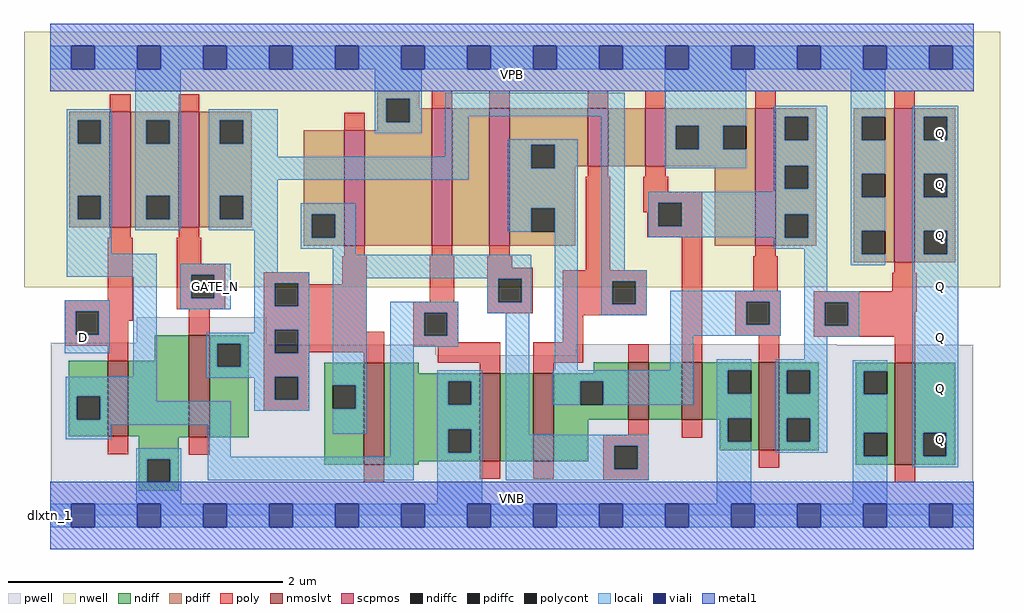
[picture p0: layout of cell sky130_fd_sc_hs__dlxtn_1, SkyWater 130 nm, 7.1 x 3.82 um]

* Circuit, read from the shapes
.subckt sky130_fd_sc_hs__dlxtn_1 D GATE_N VGND VNB VPB VPWR Q
XM1 VGND D n1 VNB sky130_fd_pr__nfet_01v8_lvt w=0.55 l=0.15
XM2 n2 GATE_N VGND VNB sky130_fd_pr__nfet_01v8_lvt w=0.74 l=0.15
XM3 VGND n2 n3 VNB sky130_fd_pr__nfet_01v8_lvt w=0.74 l=0.15
XM4 n4 n1 VGND VNB sky130_fd_pr__nfet_01v8_lvt w=0.64 l=0.15
XM5 n5 n2 n4 VNB sky130_fd_pr__nfet_01v8_lvt w=0.64 l=0.15
XM6 n6 n3 n5 VNB sky130_fd_pr__nfet_01v8_lvt w=0.42 l=0.15
XM7 VGND n7 n6 VNB sky130_fd_pr__nfet_01v8_lvt w=0.42 l=0.15
XM8 n7 n5 VGND VNB sky130_fd_pr__nfet_01v8_lvt w=0.64 l=0.15
XM9 Q n7 VGND VNB sky130_fd_pr__nfet_01v8_lvt w=0.74 l=0.15
XM10 VPWR D n1 VPB sky130_fd_pr__pfet_01v8 w=0.84 l=0.15
XM11 n2 GATE_N VPWR VPB sky130_fd_pr__pfet_01v8 w=0.84 l=0.15
XM12 VPWR n2 n3 VPB sky130_fd_pr__pfet_01v8 w=0.84 l=0.15
XM13 n8 n1 VPWR VPB sky130_fd_pr__pfet_01v8 w=1 l=0.15
XM14 n5 n3 n8 VPB sky130_fd_pr__pfet_01v8 w=1 l=0.15
XM15 n9 n2 n5 VPB sky130_fd_pr__pfet_01v8 w=0.42 l=0.15
XM16 VPWR n7 n9 VPB sky130_fd_pr__pfet_01v8 w=0.42 l=0.15
XM17 n7 n5 VPWR VPB sky130_fd_pr__pfet_01v8 w=1 l=0.15
XM18 Q n7 VPWR VPB sky130_fd_pr__pfet_01v8 w=1.12 l=0.15
.ends

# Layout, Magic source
magic
tech sky130A
magscale 1 2
<< nwell >>
rect -38 332 1382 704
<< pwell >>
rect 126 251 315 288
rect 1 248 315 251
rect 765 248 1144 249
rect 1 233 562 248
rect 765 233 1343 248
rect 1 49 1343 233
rect 0 0 1344 49
<< scpmos >>
rect 87 419 117 587
rect 187 419 217 587
rect 428 392 458 560
rect 555 392 585 592
rect 639 392 669 592
rect 782 508 812 592
rect 866 508 896 592
rect 1026 392 1056 592
rect 1228 368 1258 592
<< nmoslvt >>
rect 84 115 114 225
rect 202 114 232 262
rect 456 74 486 222
rect 625 79 655 207
rect 703 79 733 207
rect 841 139 871 223
rect 919 139 949 223
rect 1031 95 1061 223
rect 1229 74 1259 222
<< ndiff >>
rect 152 225 202 262
rect 27 173 84 225
rect 27 139 39 173
rect 73 139 84 173
rect 27 115 84 139
rect 114 115 202 225
rect 129 114 202 115
rect 232 250 289 262
rect 232 216 243 250
rect 277 216 289 250
rect 232 114 289 216
rect 399 189 456 222
rect 399 155 411 189
rect 445 155 456 189
rect 129 82 187 114
rect 129 48 141 82
rect 175 48 187 82
rect 399 74 456 155
rect 486 207 536 222
rect 791 207 841 223
rect 486 195 625 207
rect 486 161 579 195
rect 613 161 625 195
rect 486 125 625 161
rect 486 91 579 125
rect 613 91 625 125
rect 486 79 625 91
rect 655 79 703 207
rect 733 195 841 207
rect 733 161 771 195
rect 805 161 841 195
rect 733 139 841 161
rect 871 139 919 223
rect 949 211 1031 223
rect 949 177 986 211
rect 1020 177 1031 211
rect 949 141 1031 177
rect 949 139 986 141
rect 733 79 783 139
rect 486 74 536 79
rect 974 107 986 139
rect 1020 107 1031 141
rect 974 95 1031 107
rect 1061 211 1118 223
rect 1061 177 1072 211
rect 1106 177 1118 211
rect 1061 141 1118 177
rect 1061 107 1072 141
rect 1106 107 1118 141
rect 1061 95 1118 107
rect 1172 210 1229 222
rect 1172 176 1184 210
rect 1218 176 1229 210
rect 1172 120 1229 176
rect 1172 86 1184 120
rect 1218 86 1229 120
rect 1172 74 1229 86
rect 1259 120 1317 222
rect 1259 86 1270 120
rect 1304 86 1317 120
rect 1259 74 1317 86
rect 129 36 187 48
<< pdiff >>
rect 476 606 537 618
rect 28 575 87 587
rect 28 541 40 575
rect 74 541 87 575
rect 28 465 87 541
rect 28 431 40 465
rect 74 431 87 465
rect 28 419 87 431
rect 117 575 187 587
rect 117 541 140 575
rect 174 541 187 575
rect 117 465 187 541
rect 117 431 140 465
rect 174 431 187 465
rect 117 419 187 431
rect 217 575 293 587
rect 217 541 247 575
rect 281 541 293 575
rect 476 572 489 606
rect 523 592 537 606
rect 523 572 555 592
rect 476 560 555 572
rect 217 465 293 541
rect 217 431 247 465
rect 281 431 293 465
rect 217 419 293 431
rect 369 438 428 560
rect 369 404 381 438
rect 415 404 428 438
rect 369 392 428 404
rect 458 392 555 560
rect 585 392 639 592
rect 669 539 782 592
rect 669 505 700 539
rect 734 508 782 539
rect 812 508 866 592
rect 896 567 1026 592
rect 896 533 910 567
rect 944 533 979 567
rect 1013 533 1026 567
rect 896 508 1026 533
rect 734 505 764 508
rect 669 447 764 505
rect 669 413 700 447
rect 734 413 764 447
rect 669 392 764 413
rect 967 392 1026 508
rect 1056 580 1115 592
rect 1056 546 1069 580
rect 1103 546 1115 580
rect 1056 509 1115 546
rect 1056 475 1069 509
rect 1103 475 1115 509
rect 1056 438 1115 475
rect 1056 404 1069 438
rect 1103 404 1115 438
rect 1056 392 1115 404
rect 1169 580 1228 592
rect 1169 546 1181 580
rect 1215 546 1228 580
rect 1169 497 1228 546
rect 1169 463 1181 497
rect 1215 463 1228 497
rect 1169 414 1228 463
rect 1169 380 1181 414
rect 1215 380 1228 414
rect 1169 368 1228 380
rect 1258 580 1317 592
rect 1258 546 1271 580
rect 1305 546 1317 580
rect 1258 497 1317 546
rect 1258 463 1271 497
rect 1305 463 1317 497
rect 1258 414 1317 463
rect 1258 380 1271 414
rect 1305 380 1317 414
rect 1258 368 1317 380
<< ndiffc >>
rect 39 139 73 173
rect 243 216 277 250
rect 411 155 445 189
rect 141 48 175 82
rect 579 161 613 195
rect 579 91 613 125
rect 771 161 805 195
rect 986 177 1020 211
rect 986 107 1020 141
rect 1072 177 1106 211
rect 1072 107 1106 141
rect 1184 176 1218 210
rect 1184 86 1218 120
rect 1270 86 1304 120
<< pdiffc >>
rect 40 541 74 575
rect 40 431 74 465
rect 140 541 174 575
rect 140 431 174 465
rect 247 541 281 575
rect 489 572 523 606
rect 247 431 281 465
rect 381 404 415 438
rect 700 505 734 539
rect 910 533 944 567
rect 979 533 1013 567
rect 700 413 734 447
rect 1069 546 1103 580
rect 1069 475 1103 509
rect 1069 404 1103 438
rect 1181 546 1215 580
rect 1181 463 1215 497
rect 1181 380 1215 414
rect 1271 546 1305 580
rect 1271 463 1305 497
rect 1271 380 1305 414
<< poly >>
rect 87 587 117 613
rect 187 587 217 613
rect 428 560 458 586
rect 555 592 585 618
rect 639 592 669 618
rect 782 592 812 618
rect 866 592 896 618
rect 1026 592 1056 618
rect 1228 592 1258 618
rect 87 404 117 419
rect 187 404 217 419
rect 84 313 120 404
rect 21 297 120 313
rect 184 366 220 404
rect 782 493 812 508
rect 866 493 896 508
rect 428 377 458 392
rect 555 377 585 392
rect 639 377 669 392
rect 184 350 255 366
rect 184 316 205 350
rect 239 316 255 350
rect 184 300 255 316
rect 311 338 377 354
rect 311 304 327 338
rect 361 336 377 338
rect 425 336 461 377
rect 361 304 461 336
rect 552 311 588 377
rect 636 360 672 377
rect 636 344 702 360
rect 779 357 815 493
rect 863 471 899 493
rect 863 455 949 471
rect 863 441 885 455
rect 869 421 885 441
rect 919 421 949 455
rect 869 405 949 421
rect 21 263 37 297
rect 71 283 120 297
rect 71 263 114 283
rect 21 247 114 263
rect 202 262 232 300
rect 311 270 461 304
rect 84 225 114 247
rect 84 89 114 115
rect 311 236 327 270
rect 361 267 461 270
rect 528 295 594 311
rect 361 237 486 267
rect 528 261 544 295
rect 578 261 594 295
rect 636 310 652 344
rect 686 310 702 344
rect 636 294 702 310
rect 746 341 868 357
rect 746 307 818 341
rect 852 307 868 341
rect 528 252 594 261
rect 746 291 868 307
rect 746 252 776 291
rect 528 245 655 252
rect 361 236 377 237
rect 311 202 377 236
rect 456 222 486 237
rect 564 222 655 245
rect 311 168 327 202
rect 361 168 377 202
rect 311 152 377 168
rect 202 88 232 114
rect 625 207 655 222
rect 703 222 776 252
rect 841 223 871 249
rect 919 223 949 405
rect 1026 377 1056 392
rect 1023 327 1059 377
rect 1228 353 1258 368
rect 997 311 1063 327
rect 1225 326 1261 353
rect 997 277 1013 311
rect 1047 277 1063 311
rect 997 261 1063 277
rect 1111 310 1261 326
rect 1111 276 1127 310
rect 1161 296 1261 310
rect 1161 276 1259 296
rect 1031 223 1061 261
rect 1111 260 1259 276
rect 703 207 733 222
rect 841 117 871 139
rect 805 101 871 117
rect 919 113 949 139
rect 456 48 486 74
rect 625 53 655 79
rect 703 53 733 79
rect 805 67 821 101
rect 855 67 871 101
rect 1229 222 1259 260
rect 1031 69 1061 95
rect 805 51 871 67
rect 1229 48 1259 74
<< polycont >>
rect 205 316 239 350
rect 327 304 361 338
rect 885 421 919 455
rect 37 263 71 297
rect 327 236 361 270
rect 544 261 578 295
rect 652 310 686 344
rect 818 307 852 341
rect 327 168 361 202
rect 1013 277 1047 311
rect 1127 276 1161 310
rect 821 67 855 101
<< locali >>
rect 0 649 31 683
rect 65 649 127 683
rect 161 649 223 683
rect 257 649 319 683
rect 353 649 415 683
rect 449 649 511 683
rect 545 649 607 683
rect 641 649 703 683
rect 737 649 799 683
rect 833 649 895 683
rect 929 649 991 683
rect 1025 649 1087 683
rect 1121 649 1183 683
rect 1217 649 1279 683
rect 1313 649 1344 683
rect 24 575 90 591
rect 24 541 40 575
rect 74 541 90 575
rect 24 465 90 541
rect 24 431 40 465
rect 74 431 90 465
rect 24 381 90 431
rect 124 575 190 649
rect 472 606 541 649
rect 124 541 140 575
rect 174 541 190 575
rect 124 465 190 541
rect 124 431 140 465
rect 174 431 190 465
rect 124 415 190 431
rect 231 575 331 591
rect 231 541 247 575
rect 281 541 331 575
rect 472 572 489 606
rect 523 572 541 606
rect 472 556 541 572
rect 575 581 836 615
rect 231 522 331 541
rect 575 522 609 581
rect 231 488 609 522
rect 666 539 768 547
rect 666 505 700 539
rect 734 505 768 539
rect 231 465 331 488
rect 231 431 247 465
rect 281 431 331 465
rect 231 415 331 431
rect 24 347 155 381
rect 21 297 87 313
rect 21 263 37 297
rect 71 263 87 297
rect 21 236 87 263
rect 121 202 155 347
rect 189 350 263 366
rect 189 316 205 350
rect 239 316 263 350
rect 189 300 263 316
rect 297 354 331 415
rect 365 438 445 454
rect 365 404 381 438
rect 415 404 445 438
rect 666 447 768 505
rect 666 413 700 447
rect 365 388 445 404
rect 411 379 445 388
rect 297 338 377 354
rect 297 304 327 338
rect 361 304 377 338
rect 297 270 377 304
rect 297 266 327 270
rect 23 173 155 202
rect 227 250 327 266
rect 227 216 243 250
rect 277 236 327 250
rect 361 236 377 270
rect 277 216 377 236
rect 227 202 377 216
rect 227 200 327 202
rect 23 139 39 173
rect 73 166 155 173
rect 297 168 327 200
rect 361 168 377 202
rect 73 139 263 166
rect 297 152 377 168
rect 411 345 700 379
rect 411 189 461 345
rect 636 344 700 345
rect 445 155 461 189
rect 23 132 263 139
rect 23 111 89 132
rect 125 82 191 98
rect 125 48 141 82
rect 175 48 191 82
rect 229 85 263 132
rect 411 119 461 155
rect 495 295 594 311
rect 495 261 544 295
rect 578 261 594 295
rect 636 310 652 344
rect 686 310 700 344
rect 636 294 700 310
rect 495 245 594 261
rect 495 85 529 245
rect 229 51 529 85
rect 563 195 629 211
rect 563 161 579 195
rect 613 161 629 195
rect 563 125 629 161
rect 563 91 579 125
rect 613 91 629 125
rect 125 17 191 48
rect 563 17 629 91
rect 663 117 697 294
rect 734 211 768 447
rect 802 357 836 581
rect 894 567 1013 649
rect 894 533 910 567
rect 944 533 979 567
rect 894 505 1013 533
rect 1053 580 1131 596
rect 1053 546 1069 580
rect 1103 546 1131 580
rect 1053 509 1131 546
rect 1053 475 1069 509
rect 1103 475 1131 509
rect 1053 471 1131 475
rect 870 455 1131 471
rect 870 421 885 455
rect 919 438 1131 455
rect 919 421 1069 438
rect 870 405 1069 421
rect 1053 404 1069 405
rect 1103 404 1131 438
rect 1053 388 1131 404
rect 802 341 868 357
rect 802 307 818 341
rect 852 307 868 341
rect 802 291 868 307
rect 902 311 1063 327
rect 902 277 1013 311
rect 1047 277 1063 311
rect 902 261 1063 277
rect 1097 326 1131 388
rect 1165 580 1215 649
rect 1165 546 1181 580
rect 1165 497 1215 546
rect 1165 463 1181 497
rect 1165 414 1215 463
rect 1165 380 1181 414
rect 1165 364 1215 380
rect 1254 580 1321 596
rect 1254 546 1271 580
rect 1305 546 1321 580
rect 1254 497 1321 546
rect 1254 463 1271 497
rect 1305 463 1321 497
rect 1254 414 1321 463
rect 1254 380 1271 414
rect 1305 380 1321 414
rect 1097 310 1177 326
rect 1097 276 1127 310
rect 1161 276 1177 310
rect 902 211 936 261
rect 1097 260 1177 276
rect 1097 227 1131 260
rect 731 195 936 211
rect 731 161 771 195
rect 805 161 936 195
rect 970 211 1020 227
rect 970 177 986 211
rect 970 141 1020 177
rect 663 101 871 117
rect 663 67 821 101
rect 855 67 871 101
rect 663 51 871 67
rect 970 107 986 141
rect 970 17 1020 107
rect 1056 211 1131 227
rect 1056 177 1072 211
rect 1106 177 1131 211
rect 1056 141 1131 177
rect 1056 107 1072 141
rect 1106 107 1131 141
rect 1056 91 1131 107
rect 1168 210 1218 226
rect 1168 176 1184 210
rect 1168 120 1218 176
rect 1168 86 1184 120
rect 1168 17 1218 86
rect 1254 120 1321 380
rect 1254 86 1270 120
rect 1304 86 1321 120
rect 1254 70 1321 86
rect 0 -17 31 17
rect 65 -17 127 17
rect 161 -17 223 17
rect 257 -17 319 17
rect 353 -17 415 17
rect 449 -17 511 17
rect 545 -17 607 17
rect 641 -17 703 17
rect 737 -17 799 17
rect 833 -17 895 17
rect 929 -17 991 17
rect 1025 -17 1087 17
rect 1121 -17 1183 17
rect 1217 -17 1279 17
rect 1313 -17 1344 17
<< viali >>
rect 31 649 65 683
rect 127 649 161 683
rect 223 649 257 683
rect 319 649 353 683
rect 415 649 449 683
rect 511 649 545 683
rect 607 649 641 683
rect 703 649 737 683
rect 799 649 833 683
rect 895 649 929 683
rect 991 649 1025 683
rect 1087 649 1121 683
rect 1183 649 1217 683
rect 1279 649 1313 683
rect 31 -17 65 17
rect 127 -17 161 17
rect 223 -17 257 17
rect 319 -17 353 17
rect 415 -17 449 17
rect 511 -17 545 17
rect 607 -17 641 17
rect 703 -17 737 17
rect 799 -17 833 17
rect 895 -17 929 17
rect 991 -17 1025 17
rect 1087 -17 1121 17
rect 1183 -17 1217 17
rect 1279 -17 1313 17
<< metal1 >>
rect 0 683 1344 715
rect 0 649 31 683
rect 65 649 127 683
rect 161 649 223 683
rect 257 649 319 683
rect 353 649 415 683
rect 449 649 511 683
rect 545 649 607 683
rect 641 649 703 683
rect 737 649 799 683
rect 833 649 895 683
rect 929 649 991 683
rect 1025 649 1087 683
rect 1121 649 1183 683
rect 1217 649 1279 683
rect 1313 649 1344 683
rect 0 617 1344 649
rect 0 17 1344 49
rect 0 -17 31 17
rect 65 -17 127 17
rect 161 -17 223 17
rect 257 -17 319 17
rect 353 -17 415 17
rect 449 -17 511 17
rect 545 -17 607 17
rect 641 -17 703 17
rect 737 -17 799 17
rect 833 -17 895 17
rect 929 -17 991 17
rect 1025 -17 1087 17
rect 1121 -17 1183 17
rect 1217 -17 1279 17
rect 1313 -17 1344 17
rect 0 -49 1344 -17
<< labels >>
rlabel comment s 0 0 0 0 4 dlxtn_1
flabel pwell s 0 0 1344 49 0 FreeSans 200 0 0 0 VNB
port 4 nsew ground bidirectional
flabel nwell s 0 617 1344 666 0 FreeSans 200 0 0 0 VPB
port 5 nsew power bidirectional
flabel metal1 s 0 617 1344 666 0 FreeSans 340 0 0 0 VPWR
port 6 nsew power bidirectional
flabel metal1 s 0 0 1344 49 0 FreeSans 340 0 0 0 VGND
port 3 nsew ground bidirectional
flabel locali s 1279 94 1313 128 0 FreeSans 340 0 0 0 Q
port 7 nsew signal output
flabel locali s 1279 168 1313 202 0 FreeSans 340 0 0 0 Q
port 7 nsew signal output
flabel locali s 1279 242 1313 276 0 FreeSans 340 0 0 0 Q
port 7 nsew signal output
flabel locali s 1279 316 1313 350 0 FreeSans 340 0 0 0 Q
port 7 nsew signal output
flabel locali s 1279 390 1313 424 0 FreeSans 340 0 0 0 Q
port 7 nsew signal output
flabel locali s 1279 464 1313 498 0 FreeSans 340 0 0 0 Q
port 7 nsew signal output
flabel locali s 1279 538 1313 572 0 FreeSans 340 0 0 0 Q
port 7 nsew signal output
flabel locali s 223 316 257 350 0 FreeSans 340 0 0 0 GATE_N
port 2 nsew clock input
flabel locali s 31 242 65 276 0 FreeSans 340 0 0 0 D
port 1 nsew signal input
<< properties >>
string LEFsite unit
string LEFclass CORE
string FIXED_BBOX 0 0 1344 666
string GDS_FILE $PDKPATH/libs.ref/sky130_fd_sc_hs/gds/sky130_fd_sc_hs.gds
string LEFsymmetry X Y
string GDS_END 668010
string GDS_START 656842
<< end >>
